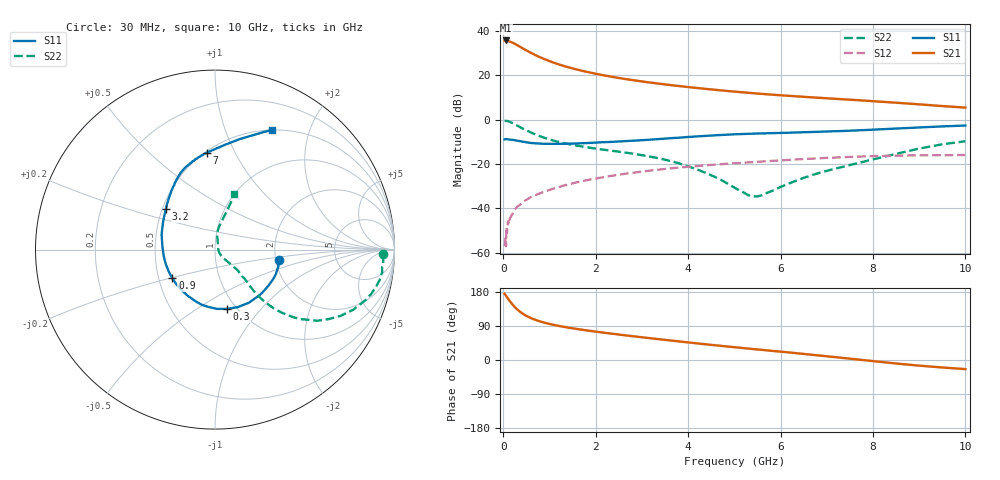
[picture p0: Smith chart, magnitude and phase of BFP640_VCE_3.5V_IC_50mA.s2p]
! (c) 2013  Infineon Technologies AG, Munich
! Infineon Technologies  Discrete & RF Semiconductors
! BFP640
! VCE =  3.5 V,  IC =  50 mA
! Common Emitter S-Parameters:  Apr 2013
# GHz  S  MA  R  50
!  f  S11  S21  S12  S22
! GHz  MAG  ANG  MAG  ANG  MAG  ANG  MAG  ANG
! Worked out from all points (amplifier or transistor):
!   99 points, 30 MHz to 10 GHz, reference 50 ohm
!   highest |S21| = 35.8 dB at 50 MHz (marker M1)
!   |S21| within 3 dB of that: start of sweep to 376.4 MHz
!   unconditionally stable (mu >= 1): 1.576 GHz to end of sweep
!   at 350 MHz: K = 0.52, MSG = 35.8 dB, |S12| = -38.6 dB
!   at 3.5 GHz: K = 1.07, MAG = 17.4 dB, |S12| = -22.2 dB
!   at 10 GHz: K = 1.07, MAG = 9.1 dB, |S12| = -15.9 dB
!   S11 on the Smith chart (normalised r, x): 30 MHz: 2.08, -0.27; 300 MHz: 0.90, -0.67; 900 MHz: 0.59, -0.20; 3.2 GHz: 0.52, +0.27; 7 GHz: 0.51, +0.78; 10 GHz: 0.50, +1.47
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0.03  0.3598 -8.9  60.7 174.7  0.0014 73.3  0.9339 -1.6
0.05  0.3656 -14.8  61.4 171.5  0.0022 87.9  0.9414 -4.8
0.08  0.3648 -24.0  60.85 166.0  0.0028 82.5  0.9348 -9.0
0.15  0.3554 -45.1  57.48 154.3  0.0061 70.6  0.8867 -18.3
0.2  0.3512 -57.6  54.63 146.6  0.0074 71.2  0.8401 -23.5
0.25  0.3444 -68.8  51.69 139.9  0.0094 71.3  0.7903 -27.9
0.3  0.3365 -78.8  48.35 133.9  0.0108 71.1  0.74 -31.6
0.35  0.3306 -87.9  44.98 128.7  0.0117 68.8  0.6948 -34.8
0.45  0.3165 -103.0  39.25 120.0  0.0146 68.4  0.6121 -39.2
0.6  0.299 -120.5  32.34 110.6  0.018 67.1  0.5137 -43.3
0.7  0.2927 -130.5  28.58 105.7  0.0199 65.9  0.4638 -45.0
0.9  0.286 -146.1  23.12 98.2  0.0239 65.5  0.3879 -46.6
1.2  0.286 -164.1  17.72 90.0  0.0302 64.3  0.3146 -46.8
1.7  0.2941 175.9  12.74 80.0  0.0409 61.7  0.249 -44.9
2.4  0.3183 157.0  9.112 68.7  0.0553 56.7  0.1961 -43.9
3.2  0.3555 140.3  6.853 57.2  0.0716 50.3  0.1451 -42.8
3.4  0.3681 136.6  6.446 54.5  0.0753 48.4  0.1317 -43.4
5.1  0.4719 113.2  4.218 32.6  0.1055 33.5  0.0257 -30.4
6.7  0.5289 98.3  3.189 13.6  0.1326 19.3  0.057 75.5
7  0.5414 94.8  3.044 9.8  0.1375 16.3  0.07 79.4
8.5  0.6314 77.3  2.416 -9.2  0.1546 1.2  0.1695 76.1
10  0.7387 64.5  1.875 -24.0  0.1597 -10.9  0.3264 71.3
